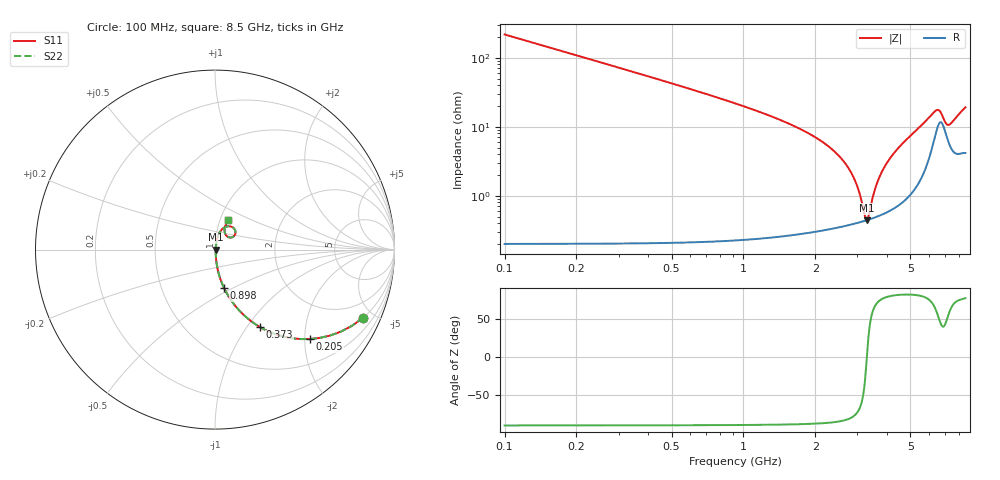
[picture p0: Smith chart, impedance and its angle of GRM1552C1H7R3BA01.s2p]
!Murata Part Number: GRM1552C1H7R3BA01
!These Parameters are Measured in Series Mode Connection
!Data Generated on Mar 30, 2021
!  o--ll--o
!Port1  Port2
!  o------o
!Operation Temp=25[degC], DC Bias Voltage=0[V]
!Freq. Start=100[MHz] Stop=9[GHz] 401[Steps]
# Hz S RI R 50
!Freq.(Hz) S11(Real) S11(Imag) S21(Real) S21(Imag) S12(Real) S12(Imag) S22(Real) S22(Imag)
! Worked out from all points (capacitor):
!   401 points, 100 MHz to 8.5 GHz, reference 50 ohm
!   read as one part in series: C = 7.3 pF near 142 MHz
!   lowest |Z| = 444 mohm at 3.292 GHz (marker M1)
!   series resonance near 3.287 GHz, so ESL is about 320 pH
!   S11 on the Smith chart (normalised r, x): 100 MHz: 1.00, -4.36; 205 MHz: 1.00, -2.12; 373 MHz: 1.00, -1.15; 898 MHz: 1.00, -0.45; 8.5 GHz: 1.08, +0.37
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1e8  0.8257 -0.3789  0.1743 0.3789  0.1743 0.3789  0.8257 -0.3789
2.05e8  0.5289 -0.4982  0.4711 0.4982  0.4711 0.4982  0.5289 -0.4982
2.89e8  0.3597 -0.4786  0.6403 0.4786  0.6403 0.4786  0.3597 -0.4786
3.73e8  0.2508 -0.4317  0.7492 0.4317  0.7492 0.4317  0.2508 -0.4317
5.83e8  0.1178 -0.3195  0.8822 0.3195  0.8822 0.3195  0.1178 -0.3195
8.98e8  0.0504 -0.2138  0.9496 0.2138  0.9496 0.2138  0.0504 -0.2138
1.507e9  0.0157 -0.1137  0.9843 0.1137  0.9843 0.1137  0.0157 -0.1137
2.41e9  0.00524 -0.0431  0.9948 0.0431  0.9948 0.0431  0.00524 -0.0431
2.704e9  0.00442 -0.0272  0.9956 0.0272  0.9956 0.0272  0.00442 -0.0272
2.914e9  0.0042 -0.0169  0.9958 0.0169  0.9958 0.0169  0.0042 -0.0169
3.061e9  0.0042 -0.01  0.9958 0.01  0.9958 0.01  0.0042 -0.01
3.229e9  0.00433 -0.00254  0.9957 0.00254  0.9957 0.00254  0.00433 -0.00254
3.292e9  0.00441 0.000199  0.9956 -0.000199  0.9956 -0.000199  0.00441 0.000199
3.334e9  0.00448 0.00201  0.9955 -0.00201  0.9955 -0.00201  0.00448 0.00201
3.544e9  0.00493 0.0109  0.9951 -0.0109  0.9951 -0.0109  0.00493 0.0109
3.712e9  0.00544 0.0178  0.9946 -0.0178  0.9946 -0.0178  0.00544 0.0178
3.964e9  0.00645 0.028  0.9935 -0.028  0.9935 -0.028  0.00645 0.028
4.3e9  0.00835 0.0416  0.9917 -0.0416  0.9917 -0.0416  0.00835 0.0416
5.707e9  0.0332 0.1065  0.9668 -0.1065  0.9668 -0.1065  0.0332 0.1065
6.484e9  0.1036 0.12  0.8964 -0.12  0.8964 -0.12  0.1036 0.12
7.114e9  0.0712 0.0711  0.9288 -0.0711  0.9288 -0.0711  0.0712 0.0711
8.5e9  0.07 0.1667  0.93 -0.1667  0.93 -0.1667  0.07 0.1667
